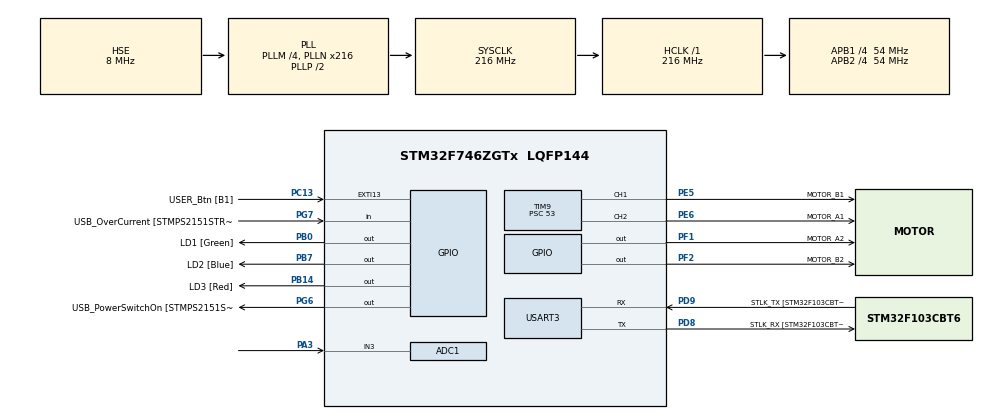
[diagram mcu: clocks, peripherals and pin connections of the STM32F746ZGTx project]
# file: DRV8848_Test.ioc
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ADC1.Channel-0\#ChannelRegularConversion=ADC_CHANNEL_3
ADC1.NbrOfConversionFlag=1
ADC1.Rank-0\#ChannelRegularConversion=1
ADC1.SamplingTime-0\#ChannelRegularConversion=ADC_SAMPLETIME_480CYCLES
ADC1.master=1
Mcu.Family=STM32F7
Mcu.Name=STM32F746ZGTx
Mcu.Package=LQFP144
NVIC.EXTI15_10_IRQn=true\:0\:0\:false\:false\:true\:true\:true\:true
NVIC.PriorityGroup=NVIC_PRIORITYGROUP_4
PA1.GPIO_Label=RMII_REF_CLK [LAN8742A-CZ-TR_REFCLK0]
PA1.Signal=ETH_REF_CLK
PA10.GPIO_Label=USB_ID
PA10.Signal=USB_OTG_FS_ID
PA11.GPIO_Label=USB_DM
PA11.Signal=USB_OTG_FS_DM
PA12.GPIO_Label=USB_DP
PA12.Signal=USB_OTG_FS_DP
PA13.GPIO_Label=TMS
PA13.Mode=Serial_Wire
PA13.Signal=SYS_JTMS-SWDIO
PA14.GPIO_Label=TCK
PA14.Mode=Serial_Wire
PA14.Signal=SYS_JTCK-SWCLK
PA2.GPIO_Label=RMII_MDIO [LAN8742A-CZ-TR_MDIO]
PA2.Signal=ETH_MDIO
PA3.Signal=ADCx_IN3
PA7.GPIO_Label=RMII_CRS_DV [LAN8742A-CZ-TR_CRS_DV]
PA7.Signal=ETH_CRS_DV
PA8.GPIO_Label=USB_SOF [TP1]
PA8.Signal=USB_OTG_FS_SOF
PA9.GPIO_Label=USB_VBUS
PA9.Signal=USB_OTG_FS_VBUS
PB0.GPIO_Label=LD1 [Green]
PB0.Signal=GPIO_Output
PB13.GPIO_Label=RMII_TXD1 [LAN8742A-CZ-TR_TXD1]
PB13.Signal=ETH_TXD1
PB14.GPIO_Label=LD3 [Red]
PB14.Signal=GPIO_Output
PB3.GPIO_Label=SW0
PB3.Signal=SYS_JTDO-SWO
PB7.GPIO_Label=LD2 [Blue]
PB7.Signal=GPIO_Output
PC1.GPIO_Label=RMII_MDC [LAN8742A-CZ-TR_MDC]
PC1.Signal=ETH_MDC
PC13.GPIO_Label=USER_Btn [B1]
PC13.Signal=GPXTI13
PC14/OSC32_IN.Mode=LSE-External-Oscillator
PC14/OSC32_IN.Signal=RCC_OSC32_IN
PC15/OSC32_OUT.Mode=LSE-External-Oscillator
PC15/OSC32_OUT.Signal=RCC_OSC32_OUT
PC4.GPIO_Label=RMII_RXD0 [LAN8742A-CZ-TR_RXD0]
PC4.Signal=ETH_RXD0
PC5.GPIO_Label=RMII_RXD1 [LAN8742A-CZ-TR_RXD1]
PC5.Signal=ETH_RXD1
PD8.GPIO_Label=STLK_RX [STM32F103CBT6_PA3]
PD8.GPIO_PuPd=GPIO_PULLUP
PD8.Mode=Asynchronous
PD8.Signal=USART3_TX
PD9.GPIO_Label=STLK_TX [STM32F103CBT6_PA2]
PD9.GPIO_PuPd=GPIO_PULLUP
PD9.Mode=Asynchronous
PD9.Signal=USART3_RX
PE5.GPIO_Label=MOTOR_B1
PE5.Signal=S_TIM9_CH1
PE6.GPIO_Label=MOTOR_A1
PE6.Signal=S_TIM9_CH2
PF1.GPIO_Label=MOTOR_A2
PF1.GPIO_Speed=GPIO_SPEED_FREQ_VERY_HIGH
PF1.Signal=GPIO_Output
PF2.GPIO_Label=MOTOR_B2
PF2.GPIO_Speed=GPIO_SPEED_FREQ_VERY_HIGH
PF2.Signal=GPIO_Output
PG11.GPIO_Label=RMII_TX_EN [LAN8742A-CZ-TR_TXEN]
PG11.Signal=ETH_TX_EN
PG13.GPIO_Label=RMII_TXD0 [LAN8742A-CZ-TR_TXD0]
PG13.Signal=ETH_TXD0
PG6.GPIO_Label=USB_PowerSwitchOn [STMPS2151STR_EN]
PG6.Signal=GPIO_Output
PG7.GPIO_Label=USB_OverCurrent [STMPS2151STR_FAULT]
PG7.Signal=GPIO_Input
PH0/OSC_IN.GPIO_Label=MCO [STM32F103CBT6_PA8]
PH0/OSC_IN.Mode=HSE-External-Clock-Source
PH0/OSC_IN.Signal=RCC_OSC_IN
PH1/OSC_OUT.Mode=HSE-External-Clock-Source
PH1/OSC_OUT.Signal=RCC_OSC_OUT
ProjectManager.HeapSize=0x200
ProjectManager.StackSize=0x400
ProjectManager.TargetToolchain=STM32CubeIDE
RCC.48MHZClocksFreq_Value=24000000
RCC.AHBFreq_Value=216000000
RCC.APB1CLKDivider=RCC_HCLK_DIV4
RCC.APB1Freq_Value=54000000
RCC.APB1TimFreq_Value=108000000
RCC.APB2CLKDivider=RCC_HCLK_DIV4
RCC.APB2Freq_Value=54000000
RCC.APB2TimFreq_Value=108000000
RCC.CortexFreq_Value=216000000
RCC.HCLKFreq_Value=216000000
RCC.HSE_VALUE=8000000
RCC.HSI_VALUE=16000000
RCC.PLLM=4
RCC.PLLMUL=RCC_PLL_MUL9
RCC.PLLN=216
RCC.PLLQ=3
RCC.PLLSourceVirtual=RCC_PLLSOURCE_HSE
RCC.PRESCALERUSB=RCC_USBCLKSOURCE_PLL_DIV1_5
RCC.SYSCLKFreq_VALUE=216000000
RCC.SYSCLKSource=RCC_SYSCLKSOURCE_PLLCLK
RCC.SYSCLKSourceVirtual=RCC_SYSCLKSOURCE_PLLCLK
RCC.USBFreq_Value=144000000
RCC.VCOOutputFreq_Value=432000000
SH.ADCx_IN3.0=ADC1_IN3,IN3
SH.S_TIM9_CH1.0=TIM9_CH1,PWM Generation1 CH1
SH.S_TIM9_CH2.0=TIM9_CH2,PWM Generation2 CH2
TIM9.Channel-PWM\ Generation1\ CH1=TIM_CHANNEL_1
TIM9.Channel-PWM\ Generation2\ CH2=TIM_CHANNEL_2
TIM9.Period=99
TIM9.Prescaler=53
USART3.VirtualMode-Asynchronous=VM_ASYNC
VP_TIM9_VS_ClockSourceINT.Mode=Internal
board=NUCLEO-F746ZG

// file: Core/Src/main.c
/* USER CODE BEGIN Header */
/**
  ******************************************************************************
  * @file           : main.c
  * @brief          : Main program body
  ******************************************************************************
  * @attention
  *
  * Copyright (c) 2024 STMicroelectronics.
  * All rights reserved.
  *
  * This software is licensed under terms that can be found in the LICENSE file
  * in the root directory of this software component.
  * If no LICENSE file comes with this software, it is provided AS-IS.
  *
  ******************************************************************************
  */
/* USER CODE END Header */
#include "main.h"
#include "adc.h"
#include "tim.h"
#include "usart.h"
#include "gpio.h"

/* USER CODE BEGIN Includes */
#include "aio.h"
#include "dio.h"
#include "pwm.h"
/* USER CODE END Includes */

/* USER CODE BEGIN PV */
PWM_Handle_TypeDef hmotor_A_pwm = PWM_INIT_HANDLE(&htim9, TIM_CHANNEL_2);
PWM_Handle_TypeDef hmotor_B_pwm = PWM_INIT_HANDLE(&htim9, TIM_CHANNEL_1);
DIO_Handle_TypeDef hmotor_A_do = DIO_INIT_HANDLE(MOTOR_A2);
DIO_Handle_TypeDef hmotor_B_do = DIO_INIT_HANDLE(MOTOR_B2);

DIO_Handle_TypeDef lhd1 = DIO_INIT_HANDLE(LD1);

float pwm_dc = 0.0f;
/* USER CODE END PV */

void SystemClock_Config(void);

/* USER CODE BEGIN 0 */
/**
  * @brief  EXTI line detection callbacks.
  * @param  GPIO_Pin Specifies the pins connected EXTI line
  * @retval None
  */
void HAL_GPIO_EXTI_Callback(uint16_t GPIO_Pin)
{
  if(GPIO_Pin == USER_Btn_Pin)
  {
    DIO_Toggle(&hmotor_A_do);
    DIO_Toggle(&hmotor_B_do);
    DIO_Toggle(&lhd1);
  }
}
/* USER CODE END 0 */

int main(void)
{

  /* MCU Configuration--------------------------------------------------------*/

  /* Reset of all peripherals, Initializes the Flash interface and the Systick. */
  HAL_Init();

  /* Configure the system clock */
  SystemClock_Config();

  /* Initialize all configured peripherals */
  MX_GPIO_Init();
  MX_USART3_UART_Init();
  MX_TIM9_Init();
  MX_ADC1_Init();
  /* USER CODE BEGIN 2 */
  PWM_Init(&hmotor_A_pwm);
  PWM_Init(&hmotor_B_pwm);

  /* USER CODE END 2 */

  /* Infinite loop */
  /* USER CODE BEGIN WHILE */
  while (1)
  {
    HAL_ADC_Start(&hadc1);
    if(HAL_ADC_PollForConversion(&hadc1, 10) == HAL_OK)
      pwm_dc = __LINEAR_TRANSFORM(HAL_ADC_GetValue(&hadc1), 0.0f, 4095.0f, 0.0f, 100.0f);
    PWM_WriteDuty(&hmotor_A_pwm, pwm_dc);
    PWM_WriteDuty(&hmotor_B_pwm, pwm_dc);
    HAL_Delay(50);
    /* USER CODE END WHILE */

  }
}

void SystemClock_Config(void)
{
  RCC_OscInitTypeDef RCC_OscInitStruct = {0};
  RCC_ClkInitTypeDef RCC_ClkInitStruct = {0};

  /** Configure LSE Drive Capability
  */
  HAL_PWR_EnableBkUpAccess();

  /** Configure the main internal regulator output voltage
  */
  __HAL_RCC_PWR_CLK_ENABLE();
  __HAL_PWR_VOLTAGESCALING_CONFIG(PWR_REGULATOR_VOLTAGE_SCALE1);

  /** Initializes the RCC Oscillators according to the specified parameters
  * in the RCC_OscInitTypeDef structure.
  */
  RCC_OscInitStruct.OscillatorType = RCC_OSCILLATORTYPE_HSE;
  RCC_OscInitStruct.HSEState = RCC_HSE_BYPASS;
  RCC_OscInitStruct.PLL.PLLState = RCC_PLL_ON;
  RCC_OscInitStruct.PLL.PLLSource = RCC_PLLSOURCE_HSE;
  RCC_OscInitStruct.PLL.PLLM = 4;
  RCC_OscInitStruct.PLL.PLLN = 216;
  RCC_OscInitStruct.PLL.PLLP = RCC_PLLP_DIV2;
  RCC_OscInitStruct.PLL.PLLQ = 3;
  if (HAL_RCC_OscConfig(&RCC_OscInitStruct) != HAL_OK)
  {
    Error_Handler();
  }

  /** Activate the Over-Drive mode
  */
  if (HAL_PWREx_EnableOverDrive() != HAL_OK)
  {
    Error_Handler();
  }

  /** Initializes the CPU, AHB and APB buses clocks
  */
  RCC_ClkInitStruct.ClockType = RCC_CLOCKTYPE_HCLK|RCC_CLOCKTYPE_SYSCLK
                              |RCC_CLOCKTYPE_PCLK1|RCC_CLOCKTYPE_PCLK2;
  RCC_ClkInitStruct.SYSCLKSource = RCC_SYSCLKSOURCE_PLLCLK;
  RCC_ClkInitStruct.AHBCLKDivider = RCC_SYSCLK_DIV1;
  RCC_ClkInitStruct.APB1CLKDivider = RCC_HCLK_DIV4;
  RCC_ClkInitStruct.APB2CLKDivider = RCC_HCLK_DIV4;

  if (HAL_RCC_ClockConfig(&RCC_ClkInitStruct, FLASH_LATENCY_7) != HAL_OK)
  {
    Error_Handler();
  }
}

void Error_Handler(void)
{
  __disable_irq();
  while (1)
  {
  }
}
